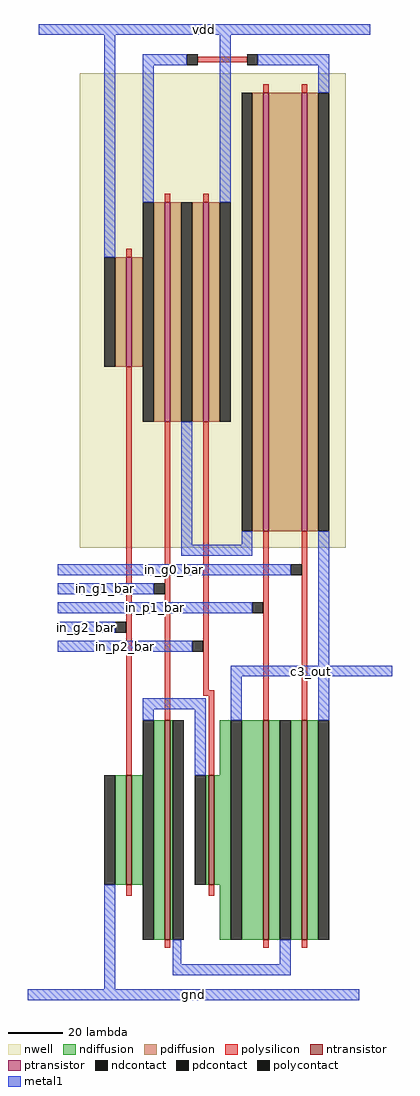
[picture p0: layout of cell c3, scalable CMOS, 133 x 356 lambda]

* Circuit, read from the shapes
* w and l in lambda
.subckt c3 c3_out gnd in_g0_bar in_g1_bar in_g2_bar in_p1_bar in_p2_bar vdd
M1 n1 in_g2_bar gnd VSUBS nfet w=40 l=2
M2 n2 in_g1_bar n1 VSUBS nfet w=80 l=2
M3 c3_out in_p2_bar n1 VSUBS nfet w=40 l=2
M4 n2 in_p1_bar c3_out VSUBS nfet w=80 l=2
M5 c3_out in_g0_bar n2 VSUBS nfet w=80 l=2
M6 c3_out in_g2_bar vdd n3 pfet w=40 l=2
M7 n4 in_g1_bar c3_out n3 pfet w=80 l=2
M8 vdd in_p2_bar n4 n3 pfet w=80 l=2
M9 n5 in_p1_bar n4 n3 pfet w=160 l=2
M10 c3_out in_g0_bar n5 n3 pfet w=160 l=2
.ends

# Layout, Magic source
magic
tech scmos
<< nwell >>
rect -59 -6 38 167
<< ntransistor >>
rect -42 -129 -40 -89
rect -28 -149 -26 -69
rect -12 -129 -10 -89
rect 8 -149 10 -69
rect 22 -149 24 -69
<< ptransistor >>
rect -42 60 -40 100
rect -28 40 -26 120
rect -14 40 -12 120
rect 8 0 10 160
rect 22 0 24 160
<< ndiffusion >>
rect -46 -129 -42 -89
rect -40 -129 -36 -89
rect -32 -149 -28 -69
rect -26 -149 -25 -69
rect -8 -89 -4 -69
rect -13 -129 -12 -89
rect -10 -129 -4 -89
rect -8 -149 -4 -129
rect 0 -149 8 -69
rect 10 -149 14 -69
rect 18 -149 22 -69
rect 24 -149 28 -69
<< pdiffusion >>
rect -46 60 -42 100
rect -40 60 -36 100
rect -32 40 -28 120
rect -26 40 -22 120
rect -18 40 -14 120
rect -12 40 -8 120
rect 4 0 8 160
rect 10 0 22 160
rect 24 0 28 160
<< ndcontact >>
rect -50 -129 -46 -89
rect -36 -149 -32 -69
rect -25 -149 -21 -69
rect -17 -129 -13 -89
rect -4 -149 0 -69
rect 14 -149 18 -69
rect 28 -149 32 -69
<< pdcontact >>
rect -50 60 -46 100
rect -36 40 -32 120
rect -22 40 -18 120
rect -8 40 -4 120
rect 0 0 4 160
rect 28 0 32 160
<< polysilicon >>
rect -16 171 2 173
rect 8 160 10 163
rect 22 160 24 163
rect -28 120 -26 123
rect -14 120 -12 123
rect -42 100 -40 103
rect -42 -89 -40 60
rect -28 -69 -26 40
rect -14 -58 -12 40
rect -14 -60 -10 -58
rect -42 -133 -40 -129
rect -12 -89 -10 -60
rect 8 -69 10 0
rect 22 -69 24 0
rect -12 -133 -10 -129
rect -28 -152 -26 -149
rect 8 -152 10 -149
rect 22 -152 24 -149
<< polycontact >>
rect -20 170 -16 174
rect 2 170 6 174
rect -46 -37 -42 -33
rect -32 -23 -28 -19
rect -18 -44 -14 -40
rect 4 -30 8 -26
rect 18 -16 22 -12
<< metal1 >>
rect -74 181 47 185
rect -50 100 -46 181
rect -36 170 -20 174
rect -36 120 -32 170
rect -8 120 -4 181
rect 6 170 32 174
rect 28 160 32 170
rect -22 -5 -18 40
rect 0 -5 4 0
rect -22 -9 4 -5
rect -67 -16 18 -12
rect -67 -23 -32 -19
rect -67 -30 4 -26
rect -67 -37 -46 -33
rect -67 -44 -18 -40
rect 28 -49 32 0
rect -4 -53 55 -49
rect -36 -65 -13 -61
rect -36 -69 -32 -65
rect -50 -167 -46 -129
rect -17 -89 -13 -65
rect -4 -69 0 -53
rect 28 -69 32 -53
rect -25 -158 -22 -149
rect 14 -158 18 -149
rect -25 -162 18 -158
rect -78 -171 43 -167
<< labels >>
rlabel metal1 -74 181 47 185 5 vdd
rlabel metal1 -78 -171 43 -167 1 gnd
rlabel metal1 -4 -53 55 -49 1 c3_out
rlabel metal1 -67 -44 -18 -40 1 in_p2_bar
rlabel metal1 -67 -37 -46 -33 1 in_g2_bar
rlabel metal1 -67 -30 4 -26 1 in_p1_bar
rlabel metal1 -67 -23 -32 -19 1 in_g1_bar
rlabel metal1 -67 -16 18 -12 1 in_g0_bar
<< end >>
